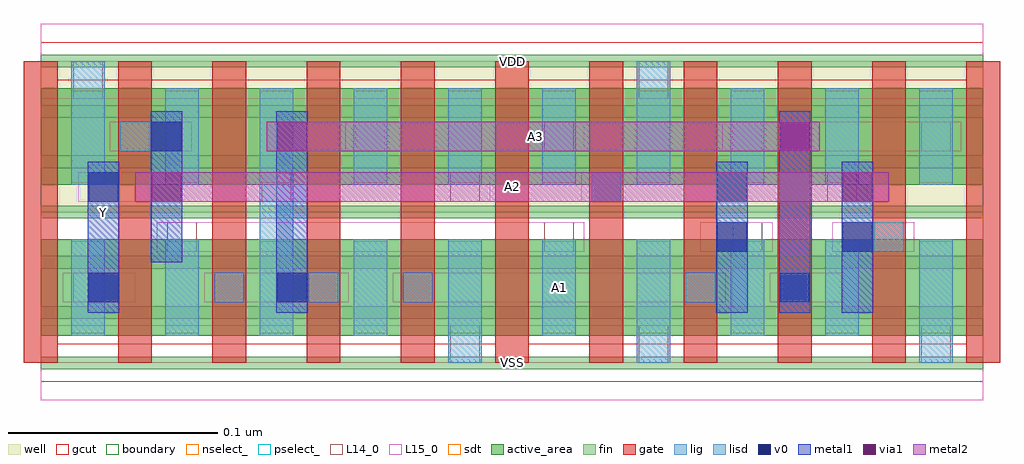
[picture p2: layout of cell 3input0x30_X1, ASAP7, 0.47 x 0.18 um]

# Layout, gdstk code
import gdstk
lib = gdstk.Library(unit=1e-6, precision=2.5e-10)
def R(c, l, rs):  # rectangles x0, y0, x1, y1
    for r in rs: c.add(gdstk.rectangle(r[:2], r[2:], *l))
def A(c, l, x, y, w, h, nx, ny, dx, dy):  # array of equal rectangles
    R(c, l, [(x+i*dx, y+j*dy, x+i*dx+w, y+j*dy+h) for i in range(nx) for j in range(ny)])
def P(c, l, *ps):  # polygons
    for p in ps: c.add(gdstk.Polygon(p, *l))
well = (1, 0)
fin = (2, 0)
gate = (7, 0)
gcut = (10, 0)
active_area = (11, 0)
nselect_ = (12, 0)
pselect_ = (13, 0)
L14_0 = (14, 0)
L15_0 = (15, 0)
lig = (16, 0)
lisd = (17, 0)
v0 = (18, 0)
metal1 = (19, 0)
metal2 = (20, 0)
via1 = (21, 0)
sdt = (88, 0)
boundary = (100, 0)

c_3input0x30_x1 = lib.new_cell('3input0x30_X1')
R(c_3input0x30_x1, well, [(0,0.072,0.45,0.144)])
A(c_3input0x30_x1, fin, 0, -0.003, 0.45, 0.006, 1, 7, 0, 0.024)
A(c_3input0x30_x1, gate, -0.008, 0, 0.016, 0.144, 11, 1, 0.045, 0)
P(c_3input0x30_x1, gcut, [(0,-0.009),(0,0),(-0.008,0),(-0.008,0.135),(0.008,0.135),(0.008,0.009),(0.217,0.009),(0.217,0.135),(0.233,0.135),(0.233,0.009),(0.442,0.009),(0.442,0.135),(-0.008,0.135),(-0.008,0.144),(0,0.144),(0,0.153),(0.45,0.153),(0.45,0.144),(0.458,0.144),(0.458,0),(0.45,0),(0.45,-0.009)])
R(c_3input0x30_x1, active_area, [(0,0.013,0.45,0.059), (0,0.085,0.45,0.131)])
R(c_3input0x30_x1, nselect_, [(0,0,0.45,0.072)])
R(c_3input0x30_x1, pselect_, [(0,0.072,0.45,0.144)])
A(c_3input0x30_x1, L14_0, 0.083, 0.029, 0.014, 0.014, 3, 1, 0.045, 0)
A(c_3input0x30_x1, L14_0, 0.1505, 0.101, 0.014, 0.014, 4, 1, 0.09, 0)
R(c_3input0x30_x1, L14_0, [(0.1955,0,0.2095,0.018), (0.2855,0,0.2995,0.018), (0.4205,0,0.4345,0.018), (0.0155,0.029,0.0295,0.043), (0.308,0.029,0.322,0.043), (0.353,0.029,0.367,0.043), (0.0605,0.053,0.0745,0.067), (0.2405,0.053,0.2545,0.067), (0.3305,0.053,0.3445,0.067), (0.398,0.053,0.412,0.067), (0.1055,0.077,0.1195,0.091), (0.1955,0.077,0.2095,0.091), (0.263,0.077,0.277,0.091), (0.3755,0.077,0.3895,0.091), (0.038,0.101,0.052,0.115), (0.0155,0.126,0.0295,0.144), (0.2855,0.126,0.2995,0.144)])
R(c_3input0x30_x1, L15_0, [(0,-0.018,0.45,0.018), (0.0105,0.029,0.045,0.043), (0.078,0.029,0.147,0.043), (0.168,0.029,0.327,0.043), (0.348,0.029,0.3825,0.043), (0.0555,0.053,0.2595,0.067), (0.315,0.053,0.3495,0.067), (0.378,0.053,0.417,0.067), (0.018,0.077,0.2145,0.091), (0.258,0.077,0.3945,0.091), (0.033,0.101,0.072,0.115), (0.1455,0.101,0.2595,0.115), (0.3255,0.101,0.4395,0.115), (0,0.126,0.45,0.162)])
A(c_3input0x30_x1, lig, 0.083, 0.029, 0.014, 0.014, 3, 1, 0.045, 0)
R(c_3input0x30_x1, lig, [(0.308,0.029,0.322,0.043), (0.353,0.029,0.367,0.043), (0.398,0.053,0.412,0.067), (0.263,0.077,0.277,0.091), (0.038,0.101,0.052,0.115)])
A(c_3input0x30_x1, lisd, 0.0595, 0.013, 0.016, 0.046, 4, 1, 0.09, 0)
A(c_3input0x30_x1, lisd, 0.1495, 0.085, 0.016, 0.046, 3, 1, 0.045, 0)
A(c_3input0x30_x1, lisd, 0.3295, 0.085, 0.016, 0.046, 3, 1, 0.045, 0)
R(c_3input0x30_x1, lisd, [(0.1945,0,0.2105,0.059), (0.2845,0,0.3005,0.059), (0.4195,0,0.4355,0.059), (0.0145,0.013,0.0305,0.059), (0.1045,0.013,0.1205,0.131), (0.3745,0.013,0.3905,0.059), (0.0145,0.085,0.0305,0.144), (0.0595,0.085,0.0755,0.131), (0.2845,0.085,0.3005,0.144)])
R(c_3input0x30_x1, v0, [(0.023,0.029,0.037,0.043), (0.113,0.029,0.127,0.043), (0.353,0.029,0.367,0.043), (0.323,0.053,0.337,0.067), (0.383,0.053,0.397,0.067), (0.023,0.077,0.037,0.091), (0.323,0.077,0.337,0.091), (0.053,0.101,0.067,0.115)])
R(c_3input0x30_x1, metal1, [(0.0225,0.024,0.0375,0.096), (0.1125,0.024,0.1275,0.12), (0.3225,0.024,0.3375,0.096), (0.3525,0.024,0.3675,0.12), (0.3825,0.024,0.3975,0.096), (0.0525,0.048,0.0675,0.12)])
R(c_3input0x30_x1, metal2, [(0.045,0.077,0.405,0.091), (0.108,0.101,0.372,0.115)])
R(c_3input0x30_x1, via1, [(0.053,0.077,0.067,0.091), (0.383,0.077,0.397,0.091), (0.113,0.101,0.127,0.115), (0.353,0.101,0.367,0.115)])
A(c_3input0x30_x1, sdt, 0.0145, 0.014, 0.016, 0.044, 10, 2, 0.045, 0.072)
R(c_3input0x30_x1, boundary, [(0,0,0.45,0.144)])
c_3input0x30_x1.add(gdstk.Label('VSS', (0.225,0), layer=15, texttype=251))
c_3input0x30_x1.add(gdstk.Label('VDD', (0.225,0.144), layer=15, texttype=251))
c_3input0x30_x1.add(gdstk.Label('VSS', (0.225,0), layer=15, texttype=251))
c_3input0x30_x1.add(gdstk.Label('VDD', (0.225,0.144), layer=15, texttype=251))
c_3input0x30_x1.add(gdstk.Label('VSS', (0.225,0), layer=15, texttype=251))
c_3input0x30_x1.add(gdstk.Label('VDD', (0.225,0.144), layer=15, texttype=251))
c_3input0x30_x1.add(gdstk.Label('A1', (0.2475,0.036), layer=15, texttype=251))
c_3input0x30_x1.add(gdstk.Label('VSS', (0.225,0), layer=15, texttype=251))
c_3input0x30_x1.add(gdstk.Label('VDD', (0.225,0.144), layer=15, texttype=251))
c_3input0x30_x1.add(gdstk.Label('VSS', (0.225,0), layer=3, texttype=251))
c_3input0x30_x1.add(gdstk.Label('VSS', (0.225,0), layer=3, texttype=251))
c_3input0x30_x1.add(gdstk.Label('VSS', (0.225,0), layer=3, texttype=251))
c_3input0x30_x1.add(gdstk.Label('VSS', (0.225,0), layer=3, texttype=251))
c_3input0x30_x1.add(gdstk.Label('VDD', (0.225,0.144), layer=1, texttype=251))
c_3input0x30_x1.add(gdstk.Label('VDD', (0.225,0.144), layer=1, texttype=251))
c_3input0x30_x1.add(gdstk.Label('VDD', (0.225,0.144), layer=1, texttype=251))
c_3input0x30_x1.add(gdstk.Label('VDD', (0.225,0.144), layer=1, texttype=251))
c_3input0x30_x1.add(gdstk.Label('Y', (0.03,0.072), layer=19, texttype=251))
c_3input0x30_x1.add(gdstk.Label('A2', (0.225,0.084), layer=20, texttype=251))
c_3input0x30_x1.add(gdstk.Label('A3', (0.2363,0.108), layer=20, texttype=251))

lib.write_gds('3input0x30_X1.gds')
